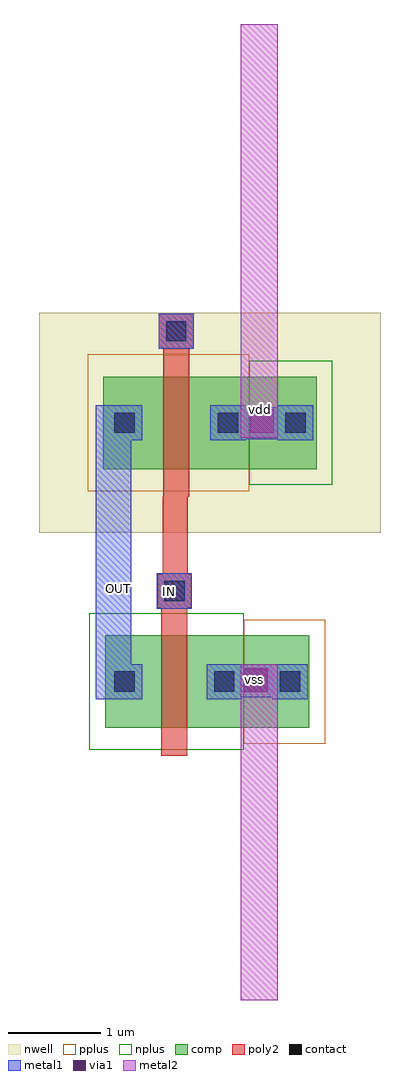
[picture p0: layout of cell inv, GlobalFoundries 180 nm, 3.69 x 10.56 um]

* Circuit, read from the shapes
.subckt inv IN OUT vdd vss
XM1 vss IN OUT vss nfet_03v3 w=1u l=0.28u
XM2 vdd IN OUT vdd pfet_03v3 w=1u l=0.28u
.ends

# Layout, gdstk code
import gdstk
lib = gdstk.Library(unit=1e-6, precision=5e-09)
def R(c, l, rs):  # rectangles x0, y0, x1, y1
    for r in rs: c.add(gdstk.rectangle(r[:2], r[2:], *l))
nwell = (21, 0)
comp = (22, 0)
poly2 = (30, 0)
pplus = (31, 0)
nplus = (32, 0)
contact = (33, 0)
metal1 = (34, 0)
via1 = (35, 0)
metal2 = (36, 0)

pfet = lib.new_cell('pfet')
R(pfet, nwell, [(-1.15,-0.69,2.54,1.69)])
R(pfet, comp, [(-0.46,0,0,1), (0,0,0.66,1), (0.66,0,1.12,1), (1.12,0,1.85,1)])
R(pfet, poly2, [(0.19,-0.3,0.47,1.3), (0.14,1.3,0.52,1.68)])
R(pfet, pplus, [(-0.63,-0.24,1.12,1.24)])
R(pfet, nplus, [(1.12,-0.17,2.02,1.17)])
R(pfet, contact, [(-0.34,0.39,-0.12,0.61), (0.78,0.39,1,0.61), (1.51,0.39,1.73,0.61), (0.22,1.38,0.44,1.6)])
R(pfet, metal1, [(-0.42,0.31,-0.04,0.69), (0.7,0.31,1.08,0.69), (1.43,0.31,1.81,0.69), (0.14,1.3,0.52,1.68)])

nfet = lib.new_cell('nfet')
R(nfet, comp, [(-0.42,0,0,1), (0,0,0.66,1), (0.66,0,1.08,1), (1.08,0,1.79,1)])
R(nfet, poly2, [(0.19,-0.3,0.47,1.3), (0.15,1.3,0.51,1.66)])
R(nfet, pplus, [(1.08,-0.17,1.96,1.17)])
R(nfet, nplus, [(-0.59,-0.24,1.08,1.24)])
R(nfet, contact, [(-0.32,0.39,-0.1,0.61), (0.76,0.39,0.98,0.61), (1.47,0.39,1.69,0.61), (0.22,1.37,0.44,1.59)])
R(nfet, metal1, [(-0.4,0.31,-0.02,0.69), (0.68,0.31,1.06,0.69), (1.39,0.31,1.77,0.69), (0.14,1.29,0.52,1.67)])

inv = lib.new_cell('inv')
R(inv, poly2, [(-1.435,4.16,-1.165,5)])
R(inv, metal1, [(-2.16,2.81,-1.775,5.99), (-0.605,2.83,-0.23,3.19), (-0.54,5.62,-0.19,5.97)])
R(inv, via1, [(-0.56,2.885,-0.3,3.145), (-0.495,5.69,-0.235,5.95)])
R(inv, metal2, [(-0.59,-0.445,-0.19,3.19), (-0.595,5.64,-0.19,10.115)])
inv.add(gdstk.Reference(pfet, (-1.62,5.3)))
inv.add(gdstk.Reference(nfet, (-1.64,2.5)))
inv.add(gdstk.Label('IN', (-1.365,3.97), layer=34, texttype=10))
inv.add(gdstk.Label('OUT', (-1.91,4.005), layer=34, texttype=10))
inv.add(gdstk.Label('vdd', (-0.375,5.94), layer=34, texttype=10))
inv.add(gdstk.Label('vss', (-0.44,3.025), layer=34, texttype=10))

lib.write_gds('inv.gds')
